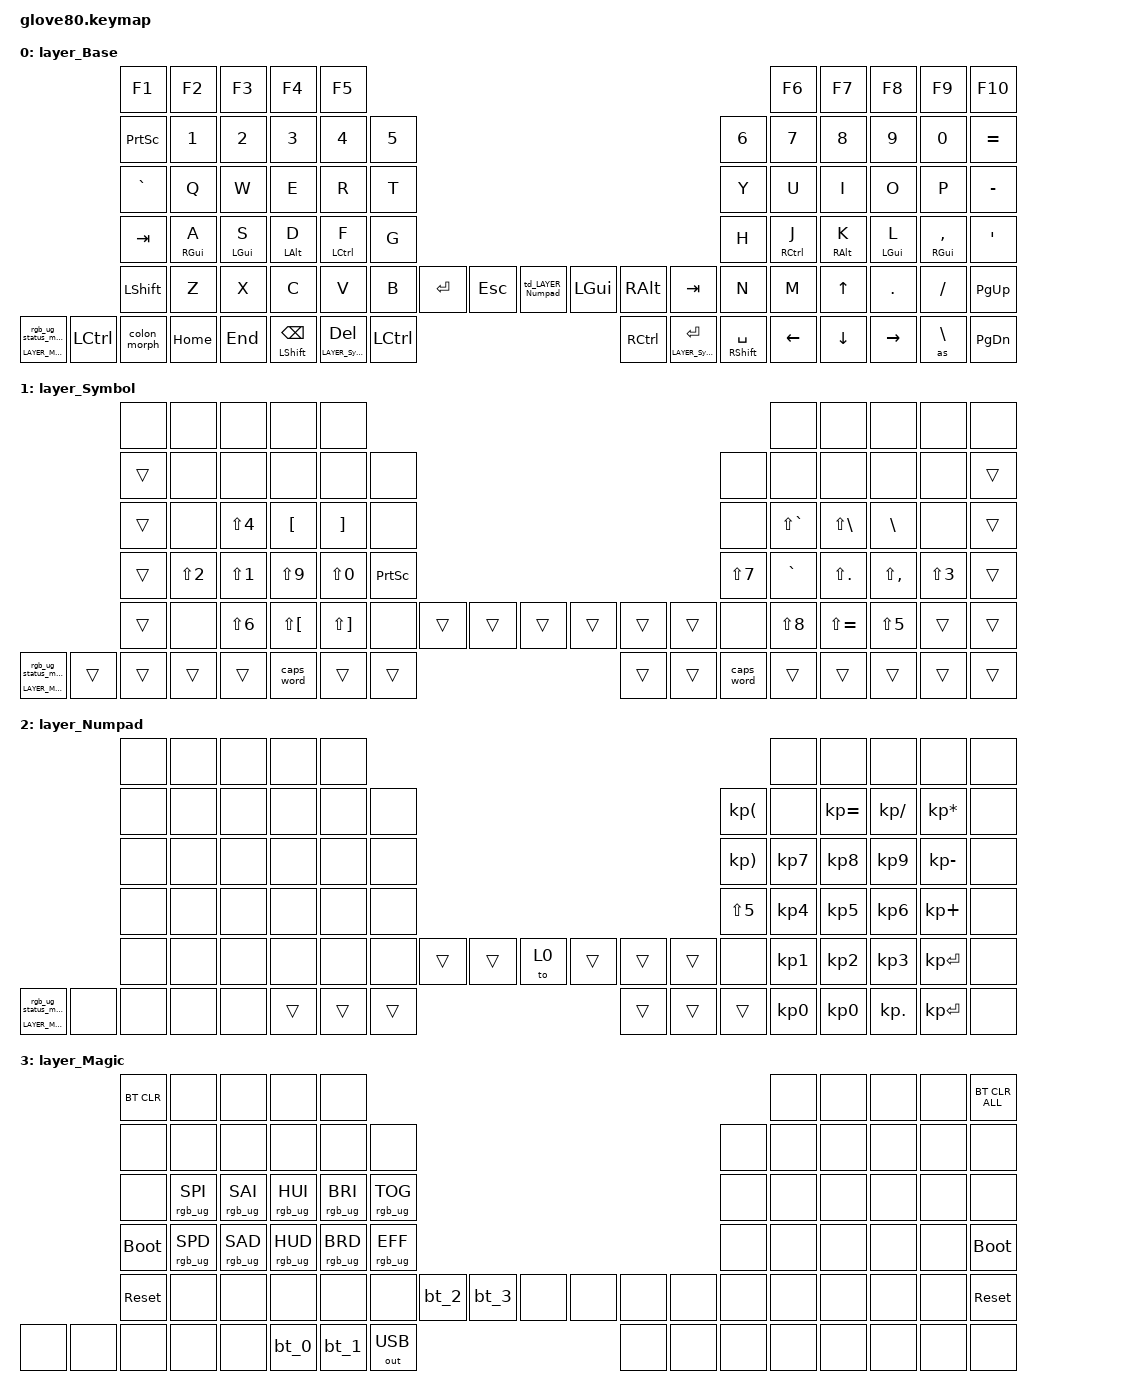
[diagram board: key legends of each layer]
/*
 * Copyright (c) 2020 The ZMK Contributors
 * Copyright (c) 2025 Innaworks Development Limited, trading as MoErgo
 *
 * SPDX-License-Identifier: MIT
 */


/* THIS FILE WAS GENERATED BY GLOVE80 LAYOUT EDITOR
 *
 * This file was generated automatically. You may or may not want to
 * edit it directly.
 */

#include <behaviors.dtsi>
/* Include all behavior includes needed */
#include <dt-bindings/zmk/outputs.h>
#include <dt-bindings/zmk/keys.h>
#include <dt-bindings/zmk/bt.h>
#include <dt-bindings/zmk/rgb.h>

/* On demand includes */


/* Helper Macros, based on https://github.com/urob/zmk-helpers/ */

#pragma once

#define ZMK_HELPER_STRINGIFY(x) #x

// Preprocessor mechanism to overload macros, cf. https://stackoverflow.com/a/27051616/6114651
#define VARGS_(_10, _9, _8, _7, _6, _5, _4, _3, _2, _1, N, ...) N
#define VARGS(...) VARGS_(__VA_ARGS__, 10, 9, 8, 7, 6, 5, 4, 3, 2, 1, 0)
#define CONCAT_(a, b) a##b
#define CONCAT(a, b) CONCAT_(a, b)

#define ZMK_BEHAVIOR_CORE_tap_dance  \
    compatible = "zmk,behavior-tap-dance"; \
    #binding-cells = <0>

#define ZMK_BEHAVIOR(name, type, ...) \
    name: name { \
        ZMK_BEHAVIOR_CORE_ ## type; \
        __VA_ARGS__ \
    };

#define ZMK_TAP_DANCE(name, ...) \
    ZMK_BEHAVIOR(name, tap_dance, __VA_ARGS__)

#define ZMK_TD_LAYER(name, layer) \
    ZMK_TAP_DANCE(name, \
        tapping-term-ms = <200>; \
        bindings = <&mo layer>, <&to layer>; \
)

/* Environment and metadata defines */
#define KB_TYPE_GLOVE_80 1
#define KB_TYPE_GO_60    2

#define KB_TYPE          KB_TYPE_GLOVE_80
#define EDITOR_HOST_OS   'W'

/* Automatically generated layer name defines */
#define LAYER_Base 0
#define LAYER_Symbol 1
#define LAYER_Numpad 2
#define LAYER_Magic 3

/* To deal with the situation where there is no Lower layer, to keep &lower happy */
#ifndef LAYER_Lower
#define LAYER_Lower 0
#endif

/* Custom Device-tree */
&mt {
    flavor = "balanced";
    quick-tap-ms = <150>;
};

&lt {
    flavor = "balanced";
};

/* Input Listeners */


/* System behavior and Macros */
/ {
    behaviors {
        ZMK_TD_LAYER(lower, LAYER_Lower)
    };
};

/ {
    macros {
        rgb_ug_status_macro: rgb_ug_status_macro {
            label = "RGB_UG_STATUS";
            compatible = "zmk,behavior-macro";
            #binding-cells = <0>;
            bindings
                = <&rgb_ug RGB_STATUS>;
        };
    };
};


/ {
#ifdef BT_DISC_CMD
    behaviors {
        bt_0: bt_0 {
            compatible = "zmk,behavior-tap-dance";
            label = "BT_0";
            #binding-cells = <0>;
            tapping-term-ms = <200>;
            bindings = <&bt_select_0>, <&bt BT_DISC 0>;
        };
        bt_1: bt_1 {
            compatible = "zmk,behavior-tap-dance";
            label = "BT_1";
            #binding-cells = <0>;
            tapping-term-ms = <200>;
            bindings = <&bt_select_1>, <&bt BT_DISC 1>;
        };
        bt_2: bt_2 {
            compatible = "zmk,behavior-tap-dance";
            label = "BT_2";
            #binding-cells = <0>;
            tapping-term-ms = <200>;
            bindings = <&bt_select_2>, <&bt BT_DISC 2>;
        };
        bt_3: bt_3 {
            compatible = "zmk,behavior-tap-dance";
            label = "BT_3";
            #binding-cells = <0>;
            tapping-term-ms = <200>;
            bindings = <&bt_select_3>, <&bt BT_DISC 3>;
        };
    };
    macros {
        bt_select_0: bt_select_0 {
            label = "BT_SELECT_0";
            compatible = "zmk,behavior-macro";
            #binding-cells = <0>;
            bindings
                = <&out OUT_BLE>,
                  <&bt BT_SEL 0>;
        };
        bt_select_1: bt_select_1 {
            label = "BT_SELECT_1";
            compatible = "zmk,behavior-macro";
            #binding-cells = <0>;
            bindings
                = <&out OUT_BLE>,
                  <&bt BT_SEL 1>;
        };
        bt_select_2: bt_select_2 {
            label = "BT_SELECT_2";
            compatible = "zmk,behavior-macro";
            #binding-cells = <0>;
            bindings
                = <&out OUT_BLE>,
                  <&bt BT_SEL 2>;
        };
        bt_select_3: bt_select_3 {
            label = "BT_SELECT_3";
            compatible = "zmk,behavior-macro";
            #binding-cells = <0>;
            bindings
                = <&out OUT_BLE>,
                  <&bt BT_SEL 3>;
        };
    };
#else
    macros {
        bt_0: bt_0 {
            label = "BT_0";
            compatible = "zmk,behavior-macro";
            #binding-cells = <0>;
            bindings
                = <&out OUT_BLE>,
                  <&bt BT_SEL 0>;
        };
        bt_1: bt_1 {
            label = "BT_1";
            compatible = "zmk,behavior-macro";
            #binding-cells = <0>;
            bindings
                = <&out OUT_BLE>,
                  <&bt BT_SEL 1>;
        };
        bt_2: bt_2 {
            label = "BT_2";
            compatible = "zmk,behavior-macro";
            #binding-cells = <0>;
            bindings
                = <&out OUT_BLE>,
                  <&bt BT_SEL 2>;
        };
        bt_3: bt_3 {
            label = "BT_3";
            compatible = "zmk,behavior-macro";
            #binding-cells = <0>;
            bindings
                = <&out OUT_BLE>,
                  <&bt BT_SEL 3>;
        };
    };
#endif
};

/ {
    behaviors {
        magic: magic {
            compatible = "zmk,behavior-hold-tap";
            label = "MAGIC_HOLD_TAP";
            #binding-cells = <2>;
            flavor = "tap-preferred";
            tapping-term-ms = <200>;
            bindings = <&mo>, <&rgb_ug_status_macro>;
        };
    };
};


/* Key positions */

#define POS_LH_C6R1 0
#define POS_LH_C5R1 1
#define POS_LH_C4R1 2
#define POS_LH_C3R1 3
#define POS_LH_C2R1 4
#define POS_RH_C2R1 5
#define POS_RH_C3R1 6
#define POS_RH_C4R1 7
#define POS_RH_C5R1 8
#define POS_RH_C6R1 9
#define POS_LH_C6R2 10
#define POS_LH_C5R2 11
#define POS_LH_C4R2 12
#define POS_LH_C3R2 13
#define POS_LH_C2R2 14
#define POS_LH_C1R2 15
#define POS_RH_C1R2 16
#define POS_RH_C2R2 17
#define POS_RH_C3R2 18
#define POS_RH_C4R2 19
#define POS_RH_C5R2 20
#define POS_RH_C6R2 21
#define POS_LH_C6R3 22
#define POS_LH_C5R3 23
#define POS_LH_C4R3 24
#define POS_LH_C3R3 25
#define POS_LH_C2R3 26
#define POS_LH_C1R3 27
#define POS_RH_C1R3 28
#define POS_RH_C2R3 29
#define POS_RH_C3R3 30
#define POS_RH_C4R3 31
#define POS_RH_C5R3 32
#define POS_RH_C6R3 33
#define POS_LH_C6R4 34
#define POS_LH_C5R4 35
#define POS_LH_C4R4 36
#define POS_LH_C3R4 37
#define POS_LH_C2R4 38
#define POS_LH_C1R4 39
#define POS_RH_C1R4 40
#define POS_RH_C2R4 41
#define POS_RH_C3R4 42
#define POS_RH_C4R4 43
#define POS_RH_C5R4 44
#define POS_RH_C6R4 45
#define POS_LH_C6R5 46
#define POS_LH_C5R5 47
#define POS_LH_C4R5 48
#define POS_LH_C3R5 49
#define POS_LH_C2R5 50
#define POS_LH_C1R5 51
#define POS_LH_T1 52
#define POS_LH_T2 53
#define POS_LH_T3 54
#define POS_RH_T3 55
#define POS_RH_T2 56
#define POS_RH_T1 57
#define POS_RH_C1R5 58
#define POS_RH_C2R5 59
#define POS_RH_C3R5 60
#define POS_RH_C4R5 61
#define POS_RH_C5R5 62
#define POS_RH_C6R5 63
#define POS_LH_C6R6 64
#define POS_LH_C5R6 65
#define POS_LH_C4R6 66
#define POS_LH_C3R6 67
#define POS_LH_C2R6 68
#define POS_LH_T4 69
#define POS_LH_T5 70
#define POS_LH_T6 71
#define POS_RH_T6 72
#define POS_RH_T5 73
#define POS_RH_T4 74
#define POS_RH_C2R6 75
#define POS_RH_C3R6 76
#define POS_RH_C4R6 77
#define POS_RH_C5R6 78
#define POS_RH_C6R6 79


/* Custom Defined Behaviors */
/ {
behaviors {
    colon_morph: colon_morph {
        compatible = "zmk,behavior-mod-morph";
        #binding-cells = <0>;
        bindings = <&kp COLON>, <&kp SEMICOLON>;
        mods = <(MOD_LSFT|MOD_RSFT)>;
    };
};

};

/* Generated input processors */


/* Automatically generated macro definitions */
/ {
    macros {

        // Autoshift
        //
        // https://github.com/nickcoutsos/keymap-editor/wiki/Autoshift-using-ZMK-behaviors
        as: as {
            label = "&AS";
            compatible = "zmk,behavior-macro-one-param";
            #binding-cells = <1>;
            bindings = <&macro_press>
                , <&macro_param_1to1>
                , <&macro_param_1to2>
                , <&as_ht MACRO_PLACEHOLDER MACRO_PLACEHOLDER>
                , <&macro_pause_for_release>
                , <&macro_release>
                , <&macro_param_1to1>
                , <&macro_param_1to2>
                , <&as_ht MACRO_PLACEHOLDER MACRO_PLACEHOLDER>;
        };

        shifted: shifted {
            label = "&SHIFTED";
            compatible = "zmk,behavior-macro-one-param";
            #binding-cells = <1>;
            bindings = <&macro_press>
                , <&kp LSHFT>
                , <&macro_tap>
                , <&macro_param_1to1>
                , <&kp MACRO_PLACEHOLDER>
                , <&macro_release>
                , <&kp LSHFT>;
        };
    };
};

/* Automatically generated behavior definitions */
/ {
    behaviors {

        // Layer tap dance behaviors

        ZMK_TD_LAYER(td_LAYER_Numpad, 2)

        // Autoshift holdtap
        as_ht: as_ht {
            compatible = "zmk,behavior-hold-tap";
            #binding-cells = <2>;
            tapping-term-ms = <150>;
            bindings = <&shifted>, <&kp>;
            flavor = "tap-preferred";
        };

        // Home row mod (left)
        //
        // https://github.com/urob/zmk-config?tab=readme-ov-file#timeless-homerow-mods
        hml: hml {
            compatible = "zmk,behavior-hold-tap";
            #binding-cells = <2>;
            tapping-term-ms = <280>;
            bindings = <&kp>, <&kp>;
            flavor = "balanced";
            quick-tap-ms = <175>;
            require-prior-idle-ms = <400>;
            hold-trigger-key-positions = <POS_LH_T4 POS_LH_T1 POS_LH_T5 POS_LH_T2 POS_LH_T6 POS_LH_T3 POS_RH_T3 POS_RH_T6 POS_RH_T2 POS_RH_T5 POS_RH_T1 POS_RH_T4 POS_RH_C1R5 POS_RH_C1R4 POS_RH_C1R3 POS_RH_C1R2 POS_RH_C2R1 POS_RH_C2R2 POS_RH_C2R3 POS_RH_C2R4 POS_RH_C2R5 POS_RH_C2R6 POS_RH_C3R6 POS_RH_C3R5 POS_RH_C3R4 POS_RH_C3R3 POS_RH_C3R1 POS_RH_C3R2 POS_RH_C4R1 POS_RH_C4R2 POS_RH_C4R3 POS_RH_C4R4 POS_RH_C4R5 POS_RH_C4R6 POS_RH_C5R6 POS_RH_C5R5 POS_RH_C5R4 POS_RH_C5R3 POS_RH_C5R2 POS_RH_C5R1 POS_RH_C6R1 POS_RH_C6R2 POS_RH_C6R3 POS_RH_C6R4 POS_RH_C6R5 POS_RH_C6R6>;
            hold-trigger-on-release;
        };

        // Home row mod (right)
        hmr: hmr {
            compatible = "zmk,behavior-hold-tap";
            #binding-cells = <2>;
            tapping-term-ms = <280>;
            bindings = <&kp>, <&kp>;
            flavor = "balanced";
            quick-tap-ms = <175>;
            require-prior-idle-ms = <400>;
            hold-trigger-key-positions = <POS_LH_T3 POS_LH_T6 POS_LH_T2 POS_LH_T5 POS_LH_T4 POS_LH_T1 POS_LH_C1R5 POS_LH_C1R4 POS_LH_C1R2 POS_LH_C1R3 POS_LH_C6R1 POS_LH_C5R1 POS_LH_C6R2 POS_LH_C5R2 POS_LH_C6R3 POS_LH_C5R3 POS_LH_C6R4 POS_LH_C5R4 POS_LH_C6R5 POS_LH_C5R5 POS_LH_C6R6 POS_LH_C5R6 POS_LH_C4R6 POS_LH_C3R6 POS_LH_C2R6 POS_LH_C2R5 POS_LH_C3R5 POS_LH_C4R5 POS_LH_C4R4 POS_LH_C3R4 POS_LH_C2R4 POS_LH_C2R3 POS_LH_C3R3 POS_LH_C4R3 POS_LH_C4R2 POS_LH_C3R2 POS_LH_C2R2 POS_LH_C2R1 POS_LH_C3R1 POS_LH_C4R1>;
            hold-trigger-on-release;
        };
    };
};

/* Automatically generated combos definitions */
/ {
    combos {
        compatible = "zmk,combos";

        combo_copy {
            key-positions = <POS_LH_C4R5 POS_LH_C3R5>;
            bindings = <&kp LC(C)>;
            require-prior-idle-ms = <300>;
        };

        combo_paste {
            key-positions = <POS_LH_C3R5 POS_LH_C2R5>;
            bindings = <&kp LC(V)>;
            require-prior-idle-ms = <300>;
        };

        combo_cut {
            key-positions = <POS_LH_C4R5 POS_LH_C2R5>;
            bindings = <&kp LC(X)>;
        };

        combo_undo {
            key-positions = <POS_LH_C5R5 POS_LH_C4R5>;
            bindings = <&kp LC(Z)>;
        };

        combo_colon {
            key-positions = <POS_RH_C2R3 POS_RH_C3R3>;
            bindings = <&kp LS(SEMI)>;
        };

        combo_semicolon {
            key-positions = <POS_RH_C3R3 POS_RH_C4R3>;
            bindings = <&kp SEMI>;
        };

        combo_underscore {
            key-positions = <POS_RH_C3R5 POS_RH_C2R5>;
            bindings = <&kp LS(MINUS)>;
        };

        combo_equal {
            key-positions = <POS_LH_C3R3 POS_LH_C4R3>;
            bindings = <&kp EQUAL>;
        };

        combo_dash {
            timeout-ms = <40>;
            key-positions = <POS_LH_C3R3 POS_LH_C2R3>;
            bindings = <&kp MINUS>;
            require-prior-idle-ms = <200>;
        };

        combo_caps_word {
            key-positions = <POS_LH_T4 POS_RH_T4>;
            bindings = <&caps_word>;
        };

        combo_dash_2 {
            key-positions = <POS_RH_C3R5 POS_RH_C4R5>;
            bindings = <&kp MINUS>;
        };
    };
};

/* Automatically generated keymap */
/ {
    keymap {
        compatible = "zmk,keymap";


        layer_Base {
            bindings = <
               &kp F1       &kp F2        &kp F3       &kp F4        &kp F5                                                                                                                                  &kp F6       &kp F7       &kp F8           &kp F9    &kp F10
            &kp PSCRN       &kp N1        &kp N2       &kp N3        &kp N4  &kp N5                                                                                                            &kp N6        &kp N7       &kp N8       &kp N9           &kp N0  &kp EQUAL
            &kp GRAVE        &kp Q         &kp W        &kp E         &kp R   &kp T                                                                                                             &kp Y         &kp U        &kp I        &kp O            &kp P  &kp MINUS
              &kp TAB  &hml RGUI A   &hml LGUI S  &hml LALT D  &hml LCTRL F   &kp G                                                                                                             &kp H  &hmr RCTRL J  &hmr RALT K  &hmr LGUI L  &hmr RGUI COMMA    &kp SQT
            &kp LSHFT        &kp Z         &kp X        &kp C         &kp V   &kp B         &kp RET               &kp ESC  &td_LAYER_Numpad   &kp LGUI              &kp RALT          &kp TAB   &kp N         &kp M       &kp UP      &kp DOT         &kp FSLH  &kp PG_UP
 &magic LAYER_Magic 0    &kp LCTRL  &colon_morph     &kp HOME       &kp END          &mt LSHFT BSPC  &lt LAYER_Symbol DEL         &kp LCTRL  &kp RCTRL  &lt LAYER_Symbol RET  &mt RSHFT SPACE              &kp LEFT     &kp DOWN    &kp RIGHT         &as BSLH  &kp PG_DN
            >;
        };

        layer_Symbol {
            bindings = <
                &none       &none       &none         &none         &none                                                                                         &none          &none          &none       &none   &none
               &trans       &none       &none         &none         &none      &none                                                               &none          &none          &none          &none       &none  &trans
               &trans       &none  &kp LS(N4)      &kp LBKT      &kp RBKT      &none                                                               &none  &kp LS(GRAVE)   &kp LS(BSLH)       &kp BSLH       &none  &trans
               &trans  &kp LS(N2)  &kp LS(N1)    &kp LS(N9)    &kp LS(N0)  &kp PSCRN                                                          &kp LS(N7)      &kp GRAVE    &kp LS(DOT)  &kp LS(COMMA)  &kp LS(N3)  &trans
               &trans       &none  &kp LS(N6)  &kp LS(LBKT)  &kp LS(RBKT)      &none      &trans  &trans  &trans  &trans  &trans      &trans       &none     &kp LS(N8)  &kp LS(EQUAL)     &kp LS(N5)      &trans  &trans
 &magic LAYER_Magic 0      &trans      &trans        &trans        &trans             &caps_word  &trans  &trans  &trans  &trans  &caps_word                     &trans         &trans         &trans      &trans  &trans
            >;
        };

        layer_Numpad {
            bindings = <
                &none   &none   &none   &none   &none                                                                           &none         &none         &none            &none   &none
                &none   &none   &none   &none   &none   &none                                                  &kp KP_LPAR      &none  &kp KP_EQUAL  &kp KP_SLASH  &kp KP_MULTIPLY   &none
                &none   &none   &none   &none   &none   &none                                                  &kp KP_RPAR  &kp KP_N7     &kp KP_N8     &kp KP_N9     &kp KP_MINUS   &none
                &none   &none   &none   &none   &none   &none                                                   &kp LS(N5)  &kp KP_N4     &kp KP_N5     &kp KP_N6      &kp KP_PLUS   &none
                &none   &none   &none   &none   &none   &none  &trans  &trans   &to 0  &trans  &trans  &trans        &none  &kp KP_N1     &kp KP_N2     &kp KP_N3     &kp KP_ENTER   &none
 &magic LAYER_Magic 0   &none   &none   &none   &none          &trans  &trans  &trans  &trans  &trans  &trans               &kp KP_N0     &kp KP_N0    &kp KP_DOT     &kp KP_ENTER   &none
            >;
        };

        layer_Magic {
            bindings = <
  &bt BT_CLR            &none            &none            &none            &none                                                                                  &none   &none   &none   &none  &bt BT_CLR_ALL
       &none            &none            &none            &none            &none            &none                                                         &none   &none   &none   &none   &none           &none
       &none  &rgb_ug RGB_SPI  &rgb_ug RGB_SAI  &rgb_ug RGB_HUI  &rgb_ug RGB_BRI  &rgb_ug RGB_TOG                                                         &none   &none   &none   &none   &none           &none
 &bootloader  &rgb_ug RGB_SPD  &rgb_ug RGB_SAD  &rgb_ug RGB_HUD  &rgb_ug RGB_BRD  &rgb_ug RGB_EFF                                                         &none   &none   &none   &none   &none     &bootloader
  &sys_reset            &none            &none            &none            &none            &none   &bt_2   &bt_3         &none   &none   &none   &none   &none   &none   &none   &none   &none      &sys_reset
       &none            &none            &none            &none            &none                    &bt_0   &bt_1  &out OUT_USB   &none   &none   &none           &none   &none   &none   &none           &none
            >;
        };

    };
};
